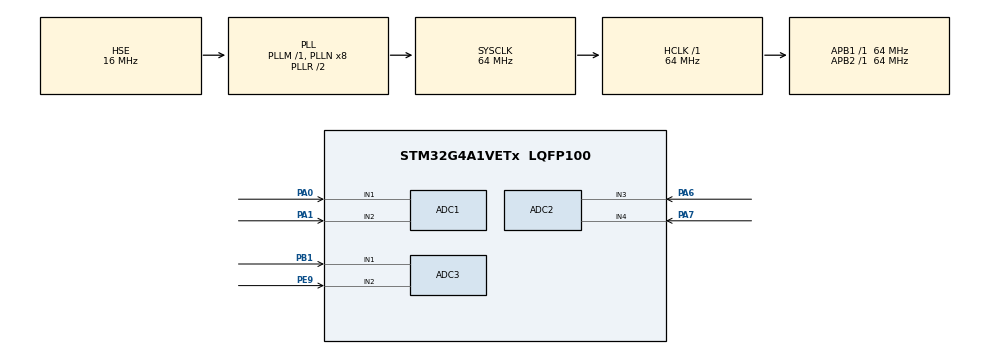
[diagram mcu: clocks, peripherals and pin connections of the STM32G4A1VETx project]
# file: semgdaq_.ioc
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ADC1.Channel-0\#ChannelRegularConversion=ADC_CHANNEL_1
ADC1.Channel-1\#ChannelRegularConversion=ADC_CHANNEL_2
ADC1.ContinuousConvMode=DISABLE
ADC1.DMAContinuousRequests=ENABLE
ADC1.ExternalTrigConv=ADC_EXTERNALTRIG_T6_TRGO
ADC1.NbrOfConversion=2
ADC1.NbrOfConversionFlag=1
ADC1.OffsetNumber-0\#ChannelRegularConversion=ADC_OFFSET_NONE
ADC1.OffsetNumber-1\#ChannelRegularConversion=ADC_OFFSET_NONE
ADC1.Rank-0\#ChannelRegularConversion=1
ADC1.Rank-1\#ChannelRegularConversion=2
ADC1.SamplingTime-0\#ChannelRegularConversion=ADC_SAMPLETIME_92CYCLES_5
ADC1.SamplingTime-1\#ChannelRegularConversion=ADC_SAMPLETIME_92CYCLES_5
ADC1.master=1
ADC2.Channel-0\#ChannelRegularConversion=ADC_CHANNEL_3
ADC2.Channel-1\#ChannelRegularConversion=ADC_CHANNEL_4
ADC2.DMAContinuousRequests=ENABLE
ADC2.ExternalTrigConv=ADC_EXTERNALTRIG_T7_TRGO
ADC2.NbrOfConversion=2
ADC2.NbrOfConversionFlag=1
ADC2.OffsetNumber-0\#ChannelRegularConversion=ADC_OFFSET_NONE
ADC2.OffsetNumber-1\#ChannelRegularConversion=ADC_OFFSET_NONE
ADC2.Rank-0\#ChannelRegularConversion=1
ADC2.Rank-1\#ChannelRegularConversion=2
ADC2.SamplingTime-0\#ChannelRegularConversion=ADC_SAMPLETIME_92CYCLES_5
ADC2.SamplingTime-1\#ChannelRegularConversion=ADC_SAMPLETIME_92CYCLES_5
ADC3.Channel-0\#ChannelRegularConversion=ADC_CHANNEL_1
ADC3.Channel-1\#ChannelRegularConversion=ADC_CHANNEL_2
ADC3.DMAContinuousRequests=ENABLE
ADC3.ExternalTrigConv=ADC_EXTERNALTRIG_T20_TRGO
ADC3.NbrOfConversion=2
ADC3.NbrOfConversionFlag=1
ADC3.OffsetNumber-0\#ChannelRegularConversion=ADC_OFFSET_NONE
ADC3.OffsetNumber-1\#ChannelRegularConversion=ADC_OFFSET_NONE
ADC3.Rank-0\#ChannelRegularConversion=1
ADC3.Rank-1\#ChannelRegularConversion=2
ADC3.SamplingTime-0\#ChannelRegularConversion=ADC_SAMPLETIME_92CYCLES_5
ADC3.SamplingTime-1\#ChannelRegularConversion=ADC_SAMPLETIME_92CYCLES_5
ADC3.master=1
Dma.ADC1.0.Direction=DMA_PERIPH_TO_MEMORY
Dma.ADC1.0.EventEnable=DISABLE
Dma.ADC1.0.Instance=DMA1_Channel1
Dma.ADC1.0.MemDataAlignment=DMA_MDATAALIGN_WORD
Dma.ADC1.0.MemInc=DMA_MINC_ENABLE
Dma.ADC1.0.Mode=DMA_CIRCULAR
Dma.ADC1.0.PeriphDataAlignment=DMA_PDATAALIGN_HALFWORD
Dma.ADC1.0.PeriphInc=DMA_PINC_DISABLE
Dma.ADC1.0.Polarity=HAL_DMAMUX_REQ_GEN_RISING
Dma.ADC1.0.Priority=DMA_PRIORITY_LOW
Dma.ADC1.0.RequestNumber=1
Dma.ADC1.0.SignalID=NONE
Dma.ADC1.0.SyncEnable=DISABLE
Dma.ADC1.0.SyncPolarity=HAL_DMAMUX_SYNC_NO_EVENT
Dma.ADC1.0.SyncRequestNumber=1
Dma.ADC1.0.SyncSignalID=NONE
Dma.ADC2.1.Direction=DMA_PERIPH_TO_MEMORY
Dma.ADC2.1.EventEnable=DISABLE
Dma.ADC2.1.Instance=DMA1_Channel2
Dma.ADC2.1.MemDataAlignment=DMA_MDATAALIGN_WORD
Dma.ADC2.1.MemInc=DMA_MINC_ENABLE
Dma.ADC2.1.Mode=DMA_CIRCULAR
Dma.ADC2.1.PeriphDataAlignment=DMA_PDATAALIGN_HALFWORD
Dma.ADC2.1.PeriphInc=DMA_PINC_DISABLE
Dma.ADC2.1.Polarity=HAL_DMAMUX_REQ_GEN_RISING
Dma.ADC2.1.Priority=DMA_PRIORITY_LOW
Dma.ADC2.1.RequestNumber=1
Dma.ADC2.1.SignalID=NONE
Dma.ADC2.1.SyncEnable=DISABLE
Dma.ADC2.1.SyncPolarity=HAL_DMAMUX_SYNC_NO_EVENT
Dma.ADC2.1.SyncRequestNumber=1
Dma.ADC2.1.SyncSignalID=NONE
Dma.ADC3.2.Direction=DMA_PERIPH_TO_MEMORY
Dma.ADC3.2.EventEnable=DISABLE
Dma.ADC3.2.Instance=DMA1_Channel3
Dma.ADC3.2.MemDataAlignment=DMA_MDATAALIGN_WORD
Dma.ADC3.2.MemInc=DMA_MINC_ENABLE
Dma.ADC3.2.Mode=DMA_CIRCULAR
Dma.ADC3.2.PeriphDataAlignment=DMA_PDATAALIGN_HALFWORD
Dma.ADC3.2.PeriphInc=DMA_PINC_DISABLE
Dma.ADC3.2.Polarity=HAL_DMAMUX_REQ_GEN_RISING
Dma.ADC3.2.Priority=DMA_PRIORITY_LOW
Dma.ADC3.2.RequestNumber=1
Dma.ADC3.2.SignalID=NONE
Dma.ADC3.2.SyncEnable=DISABLE
Dma.ADC3.2.SyncPolarity=HAL_DMAMUX_SYNC_NO_EVENT
Dma.ADC3.2.SyncRequestNumber=1
Dma.ADC3.2.SyncSignalID=NONE
Dma.Request0=ADC1
Dma.Request1=ADC2
Dma.Request2=ADC3
Mcu.Family=STM32G4
Mcu.Name=STM32G4A1VETx
Mcu.Package=LQFP100
NVIC.DMA1_Channel1_IRQn=true\:0\:0\:false\:false\:true\:false\:true\:true
NVIC.DMA1_Channel2_IRQn=true\:0\:0\:false\:false\:true\:false\:true\:true
NVIC.DMA1_Channel3_IRQn=true\:0\:0\:false\:false\:true\:false\:true\:true
NVIC.PriorityGroup=NVIC_PRIORITYGROUP_4
PA0.Mode=IN1-Single-Ended
PA0.Signal=ADC1_IN1
PA1.Mode=IN2-Single-Ended
PA1.Signal=ADC1_IN2
PA13.Mode=JTAG_4_pins
PA13.Signal=SYS_JTMS-SWDIO
PA14.Mode=JTAG_4_pins
PA14.Signal=SYS_JTCK-SWCLK
PA15.Mode=JTAG_4_pins
PA15.Signal=SYS_JTDI
PA6.Mode=IN3-Single-Ended
PA6.Signal=ADC2_IN3
PA7.Mode=IN4-Single-Ended
PA7.Signal=ADC2_IN4
PB1.Mode=IN1-Single-Ended
PB1.Signal=ADC3_IN1
PB3.Mode=JTAG_4_pins
PB3.Signal=SYS_JTDO-SWO
PE9.Mode=IN2-Single-Ended
PE9.Signal=ADC3_IN2
PF0-OSC_IN.Mode=HSE-External-Oscillator
PF0-OSC_IN.Signal=RCC_OSC_IN
PF1-OSC_OUT.Mode=HSE-External-Oscillator
PF1-OSC_OUT.Signal=RCC_OSC_OUT
ProjectManager.HeapSize=0x200
ProjectManager.StackSize=0x400
ProjectManager.TargetToolchain=STM32CubeIDE
RCC.ADC12Freq_Value=64000000
RCC.ADC345Freq_Value=64000000
RCC.AHBFreq_Value=64000000
RCC.APB1Freq_Value=64000000
RCC.APB1TimFreq_Value=64000000
RCC.APB2Freq_Value=64000000
RCC.APB2TimFreq_Value=64000000
RCC.CortexFreq_Value=64000000
RCC.EXTERNAL_CLOCK_VALUE=12288000
RCC.HCLKFreq_Value=64000000
RCC.HSE_VALUE=16000000
RCC.HSI48_VALUE=48000000
RCC.HSI_VALUE=16000000
RCC.LSE_VALUE=32768
RCC.PLLSourceVirtual=RCC_PLLSOURCE_HSE
RCC.SYSCLKFreq_VALUE=64000000
RCC.SYSCLKSource=RCC_SYSCLKSOURCE_PLLCLK
RCC.USBFreq_Value=48000000
RCC.VCOOutputFreq_Value=128000000
TIM20.PeriodNoDither=8-1
TIM20.Prescaler=8-1
TIM20.TIM_MasterOutputTrigger=TIM_TRGO_UPDATE
TIM6.PeriodNoDither=8-1
TIM6.Prescaler=8-1
TIM6.TIM_MasterOutputTrigger=TIM_TRGO_UPDATE
TIM7.PeriodNoDither=8-1
TIM7.Prescaler=8-1
TIM7.TIM_MasterOutputTrigger=TIM_TRGO_UPDATE
VP_FMAC_VS_FMAC.Mode=FMAC_Activate
VP_SYS_VS_DBSignals.Mode=DisableDeadBatterySignals
VP_TIM20_VS_ClockSourceITR.Mode=TriggerSource_ITR0
VP_TIM6_VS_ClockSourceINT.Mode=Enable_Timer
VP_TIM7_VS_ClockSourceINT.Mode=Enable_Timer
board=custom

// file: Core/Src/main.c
/* USER CODE BEGIN Header */
/**
  ******************************************************************************
  * @file           : main.c
  * @brief          : Main program body
  ******************************************************************************
  * @attention
  *
  * Copyright (c) 2024 STMicroelectronics.
  * All rights reserved.
  *
  * This software is licensed under terms that can be found in the LICENSE file
  * in the root directory of this software component.
  * If no LICENSE file comes with this software, it is provided AS-IS.
  *
  ******************************************************************************
  */
/* USER CODE END Header */
#include "main.h"

/* USER CODE BEGIN Includes */
#include <_ADCn_INx_NF.h>
/* USER CODE END Includes */

ADC_HandleTypeDef hadc1;
ADC_HandleTypeDef hadc2;
ADC_HandleTypeDef hadc3;
DMA_HandleTypeDef hdma_adc1;
DMA_HandleTypeDef hdma_adc2;
DMA_HandleTypeDef hdma_adc3;

FMAC_HandleTypeDef hfmac;

TIM_HandleTypeDef htim6;
TIM_HandleTypeDef htim7;
TIM_HandleTypeDef htim20;

/* USER CODE BEGIN PV */
ADC1_DMA_sort*ADC1_DMA_sort_ptr;
ADC2_DMA_sort*ADC2_DMA_sort_ptr;
ADC3_DMA_sort*ADC3_DMA_sort_ptr;

HAL_StatusTypeDef ADC_status;

/* USER CODE END PV */

void SystemClock_Config(void);
static void MX_GPIO_Init(void);
static void MX_DMA_Init(void);
static void MX_ADC1_Init(void);
static void MX_ADC2_Init(void);
static void MX_ADC3_Init(void);
static void MX_FMAC_Init(void);
static void MX_TIM6_Init(void);
static void MX_TIM7_Init(void);
static void MX_TIM20_Init(void);

int main(void)
{

  /* MCU Configuration--------------------------------------------------------*/

  /* Reset of all peripherals, Initializes the Flash interface and the Systick. */
  HAL_Init();

  /* USER CODE BEGIN Init */
  init_ADC1_IN1_struct();
  init_ADC1_IN1_FO_biquad_filter();

  init_ADC1_IN2_struct();
  init_ADC1_IN2_FO_biquad_filter();

  init_ADC2_IN3_struct();
  init_ADC2_IN3_FO_biquad_filter();

  init_ADC2_IN4_struct();
  init_ADC2_IN4_FO_biquad_filter();

  init_ADC3_IN1_struct();
  init_ADC3_IN1_FO_biquad_filter();

  init_ADC3_IN2_struct();
  init_ADC3_IN2_FO_biquad_filter();
  /* USER CODE END Init */

  /* Configure the system clock */
  SystemClock_Config();

  /* Initialize all configured peripherals */
  MX_GPIO_Init();
  MX_DMA_Init();
  MX_ADC1_Init();
  MX_ADC2_Init();
  MX_ADC3_Init();
  MX_FMAC_Init();
  MX_TIM6_Init();
  MX_TIM7_Init();
  MX_TIM20_Init();
  /* USER CODE BEGIN 2 */

  HAL_StatusTypeDef HAL_TIM_Base_Start(TIM_HandleTypeDef *htim6);
    ADC_status=HAL_ADC_Start_DMA(&hadc1, ADC1_DMA_sort_ptr->ADC1_DMA_bfr,ADC_DMA_BUFFERSIZE);

  HAL_StatusTypeDef HAL_TIM_Base_Start(TIM_HandleTypeDef *htim7);
    ADC_status=HAL_ADC_Start_DMA(&hadc2, ADC2_DMA_sort_ptr->ADC2_DMA_bfr,ADC_DMA_BUFFERSIZE);

  HAL_StatusTypeDef HAL_TIM_Base_Start(TIM_HandleTypeDef *htim20);
    ADC_status=HAL_ADC_Start_DMA(&hadc3, ADC3_DMA_sort_ptr->ADC3_DMA_bfr,ADC_DMA_BUFFERSIZE);

  /* USER CODE END 2 */

  /* Infinite loop */
  /* USER CODE BEGIN WHILE */
  while (1)
  {
	  update_ADC1_IN1_FO_biquad_filter();
	  update_ADC1_IN2_FO_biquad_filter();

	  update_ADC2_IN3_FO_biquad_filter();
	  update_ADC2_IN4_FO_biquad_filter();

	  update_ADC3_IN1_FO_biquad_filter();
	  update_ADC3_IN2_FO_biquad_filter();

    /* USER CODE END WHILE */

  }
}

void SystemClock_Config(void)
{
  RCC_OscInitTypeDef RCC_OscInitStruct = {0};
  RCC_ClkInitTypeDef RCC_ClkInitStruct = {0};

  /** Configure the main internal regulator output voltage
  */
  HAL_PWREx_ControlVoltageScaling(PWR_REGULATOR_VOLTAGE_SCALE1);

  /** Initializes the RCC Oscillators according to the specified parameters
  * in the RCC_OscInitTypeDef structure.
  */
  RCC_OscInitStruct.OscillatorType = RCC_OSCILLATORTYPE_HSE;
  RCC_OscInitStruct.HSEState = RCC_HSE_ON;
  RCC_OscInitStruct.PLL.PLLState = RCC_PLL_ON;
  RCC_OscInitStruct.PLL.PLLSource = RCC_PLLSOURCE_HSE;
  RCC_OscInitStruct.PLL.PLLM = RCC_PLLM_DIV1;
  RCC_OscInitStruct.PLL.PLLN = 8;
  RCC_OscInitStruct.PLL.PLLP = RCC_PLLP_DIV2;
  RCC_OscInitStruct.PLL.PLLQ = RCC_PLLQ_DIV2;
  RCC_OscInitStruct.PLL.PLLR = RCC_PLLR_DIV2;
  if (HAL_RCC_OscConfig(&RCC_OscInitStruct) != HAL_OK)
  {
    Error_Handler();
  }

  /** Initializes the CPU, AHB and APB buses clocks
  */
  RCC_ClkInitStruct.ClockType = RCC_CLOCKTYPE_HCLK|RCC_CLOCKTYPE_SYSCLK
                              |RCC_CLOCKTYPE_PCLK1|RCC_CLOCKTYPE_PCLK2;
  RCC_ClkInitStruct.SYSCLKSource = RCC_SYSCLKSOURCE_PLLCLK;
  RCC_ClkInitStruct.AHBCLKDivider = RCC_SYSCLK_DIV1;
  RCC_ClkInitStruct.APB1CLKDivider = RCC_HCLK_DIV1;
  RCC_ClkInitStruct.APB2CLKDivider = RCC_HCLK_DIV1;

  if (HAL_RCC_ClockConfig(&RCC_ClkInitStruct, FLASH_LATENCY_2) != HAL_OK)
  {
    Error_Handler();
  }
}

static void MX_ADC1_Init(void)
{

  ADC_MultiModeTypeDef multimode = {0};
  ADC_ChannelConfTypeDef sConfig = {0};

  /** Common config
  */
  hadc1.Instance = ADC1;
  hadc1.Init.ClockPrescaler = ADC_CLOCK_SYNC_PCLK_DIV2;
  hadc1.Init.Resolution = ADC_RESOLUTION_12B;
  hadc1.Init.DataAlign = ADC_DATAALIGN_RIGHT;
  hadc1.Init.GainCompensation = 0;
  hadc1.Init.ScanConvMode = ADC_SCAN_ENABLE;
  hadc1.Init.EOCSelection = ADC_EOC_SINGLE_CONV;
  hadc1.Init.LowPowerAutoWait = DISABLE;
  hadc1.Init.ContinuousConvMode = DISABLE;
  hadc1.Init.NbrOfConversion = 2;
  hadc1.Init.DiscontinuousConvMode = DISABLE;
  hadc1.Init.ExternalTrigConv = ADC_EXTERNALTRIG_T6_TRGO;
  hadc1.Init.ExternalTrigConvEdge = ADC_EXTERNALTRIGCONVEDGE_RISING;
  hadc1.Init.DMAContinuousRequests = ENABLE;
  hadc1.Init.Overrun = ADC_OVR_DATA_PRESERVED;
  hadc1.Init.OversamplingMode = DISABLE;
  if (HAL_ADC_Init(&hadc1) != HAL_OK)
  {
    Error_Handler();
  }

  /** Configure the ADC multi-mode
  */
  multimode.Mode = ADC_MODE_INDEPENDENT;
  if (HAL_ADCEx_MultiModeConfigChannel(&hadc1, &multimode) != HAL_OK)
  {
    Error_Handler();
  }

  /** Configure Regular Channel
  */
  sConfig.Channel = ADC_CHANNEL_1;
  sConfig.Rank = ADC_REGULAR_RANK_1;
  sConfig.SamplingTime = ADC_SAMPLETIME_92CYCLES_5;
  sConfig.SingleDiff = ADC_SINGLE_ENDED;
  sConfig.OffsetNumber = ADC_OFFSET_NONE;
  sConfig.Offset = 0;
  if (HAL_ADC_ConfigChannel(&hadc1, &sConfig) != HAL_OK)
  {
    Error_Handler();
  }

  /** Configure Regular Channel
  */
  sConfig.Channel = ADC_CHANNEL_2;
  sConfig.Rank = ADC_REGULAR_RANK_2;
  if (HAL_ADC_ConfigChannel(&hadc1, &sConfig) != HAL_OK)
  {
    Error_Handler();
  }

}

static void MX_ADC2_Init(void)
{

  ADC_ChannelConfTypeDef sConfig = {0};

  /** Common config
  */
  hadc2.Instance = ADC2;
  hadc2.Init.ClockPrescaler = ADC_CLOCK_SYNC_PCLK_DIV2;
  hadc2.Init.Resolution = ADC_RESOLUTION_12B;
  hadc2.Init.DataAlign = ADC_DATAALIGN_RIGHT;
  hadc2.Init.GainCompensation = 0;
  hadc2.Init.ScanConvMode = ADC_SCAN_ENABLE;
  hadc2.Init.EOCSelection = ADC_EOC_SINGLE_CONV;
  hadc2.Init.LowPowerAutoWait = DISABLE;
  hadc2.Init.ContinuousConvMode = DISABLE;
  hadc2.Init.NbrOfConversion = 2;
  hadc2.Init.DiscontinuousConvMode = DISABLE;
  hadc2.Init.ExternalTrigConv = ADC_EXTERNALTRIG_T7_TRGO;
  hadc2.Init.ExternalTrigConvEdge = ADC_EXTERNALTRIGCONVEDGE_RISING;
  hadc2.Init.DMAContinuousRequests = ENABLE;
  hadc2.Init.Overrun = ADC_OVR_DATA_PRESERVED;
  hadc2.Init.OversamplingMode = DISABLE;
  if (HAL_ADC_Init(&hadc2) != HAL_OK)
  {
    Error_Handler();
  }

  /** Configure Regular Channel
  */
  sConfig.Channel = ADC_CHANNEL_3;
  sConfig.Rank = ADC_REGULAR_RANK_1;
  sConfig.SamplingTime = ADC_SAMPLETIME_92CYCLES_5;
  sConfig.SingleDiff = ADC_SINGLE_ENDED;
  sConfig.OffsetNumber = ADC_OFFSET_NONE;
  sConfig.Offset = 0;
  if (HAL_ADC_ConfigChannel(&hadc2, &sConfig) != HAL_OK)
  {
    Error_Handler();
  }

  /** Configure Regular Channel
  */
  sConfig.Channel = ADC_CHANNEL_4;
  sConfig.Rank = ADC_REGULAR_RANK_2;
  if (HAL_ADC_ConfigChannel(&hadc2, &sConfig) != HAL_OK)
  {
    Error_Handler();
  }

}

static void MX_ADC3_Init(void)
{

  ADC_ChannelConfTypeDef sConfig = {0};

  /** Common config
  */
  hadc3.Instance = ADC3;
  hadc3.Init.ClockPrescaler = ADC_CLOCK_SYNC_PCLK_DIV2;
  hadc3.Init.Resolution = ADC_RESOLUTION_12B;
  hadc3.Init.DataAlign = ADC_DATAALIGN_RIGHT;
  hadc3.Init.GainCompensation = 0;
  hadc3.Init.ScanConvMode = ADC_SCAN_ENABLE;
  hadc3.Init.EOCSelection = ADC_EOC_SINGLE_CONV;
  hadc3.Init.LowPowerAutoWait = DISABLE;
  hadc3.Init.ContinuousConvMode = DISABLE;
  hadc3.Init.NbrOfConversion = 2;
  hadc3.Init.DiscontinuousConvMode = DISABLE;
  hadc3.Init.ExternalTrigConv = ADC_EXTERNALTRIG_T20_TRGO;
  hadc3.Init.ExternalTrigConvEdge = ADC_EXTERNALTRIGCONVEDGE_RISING;
  hadc3.Init.DMAContinuousRequests = ENABLE;
  hadc3.Init.Overrun = ADC_OVR_DATA_PRESERVED;
  hadc3.Init.OversamplingMode = DISABLE;
  if (HAL_ADC_Init(&hadc3) != HAL_OK)
  {
    Error_Handler();
  }

  /** Configure Regular Channel
  */
  sConfig.Channel = ADC_CHANNEL_1;
  sConfig.Rank = ADC_REGULAR_RANK_1;
  sConfig.SamplingTime = ADC_SAMPLETIME_92CYCLES_5;
  sConfig.SingleDiff = ADC_SINGLE_ENDED;
  sConfig.OffsetNumber = ADC_OFFSET_NONE;
  sConfig.Offset = 0;
  if (HAL_ADC_ConfigChannel(&hadc3, &sConfig) != HAL_OK)
  {
    Error_Handler();
  }

  /** Configure Regular Channel
  */
  sConfig.Channel = ADC_CHANNEL_2;
  sConfig.Rank = ADC_REGULAR_RANK_2;
  if (HAL_ADC_ConfigChannel(&hadc3, &sConfig) != HAL_OK)
  {
    Error_Handler();
  }

}

static void MX_FMAC_Init(void)
{

  hfmac.Instance = FMAC;
  if (HAL_FMAC_Init(&hfmac) != HAL_OK)
  {
    Error_Handler();
  }

}

static void MX_TIM6_Init(void)
{

  TIM_MasterConfigTypeDef sMasterConfig = {0};

  htim6.Instance = TIM6;
  htim6.Init.Prescaler = 8-1;
  htim6.Init.CounterMode = TIM_COUNTERMODE_UP;
  htim6.Init.Period = 7;
  htim6.Init.AutoReloadPreload = TIM_AUTORELOAD_PRELOAD_DISABLE;
  if (HAL_TIM_Base_Init(&htim6) != HAL_OK)
  {
    Error_Handler();
  }
  sMasterConfig.MasterOutputTrigger = TIM_TRGO_UPDATE;
  sMasterConfig.MasterSlaveMode = TIM_MASTERSLAVEMODE_DISABLE;
  if (HAL_TIMEx_MasterConfigSynchronization(&htim6, &sMasterConfig) != HAL_OK)
  {
    Error_Handler();
  }

}

static void MX_TIM7_Init(void)
{

  TIM_MasterConfigTypeDef sMasterConfig = {0};

  htim7.Instance = TIM7;
  htim7.Init.Prescaler = 8-1;
  htim7.Init.CounterMode = TIM_COUNTERMODE_UP;
  htim7.Init.Period = 7;
  htim7.Init.AutoReloadPreload = TIM_AUTORELOAD_PRELOAD_DISABLE;
  if (HAL_TIM_Base_Init(&htim7) != HAL_OK)
  {
    Error_Handler();
  }
  sMasterConfig.MasterOutputTrigger = TIM_TRGO_UPDATE;
  sMasterConfig.MasterSlaveMode = TIM_MASTERSLAVEMODE_DISABLE;
  if (HAL_TIMEx_MasterConfigSynchronization(&htim7, &sMasterConfig) != HAL_OK)
  {
    Error_Handler();
  }

}

static void MX_TIM20_Init(void)
{

  TIM_SlaveConfigTypeDef sSlaveConfig = {0};
  TIM_MasterConfigTypeDef sMasterConfig = {0};

  htim20.Instance = TIM20;
  htim20.Init.Prescaler = 8-1;
  htim20.Init.CounterMode = TIM_COUNTERMODE_UP;
  htim20.Init.Period = 7;
  htim20.Init.ClockDivision = TIM_CLOCKDIVISION_DIV1;
  htim20.Init.RepetitionCounter = 0;
  htim20.Init.AutoReloadPreload = TIM_AUTORELOAD_PRELOAD_DISABLE;
  if (HAL_TIM_Base_Init(&htim20) != HAL_OK)
  {
    Error_Handler();
  }
  sSlaveConfig.SlaveMode = TIM_SLAVEMODE_DISABLE;
  sSlaveConfig.InputTrigger = TIM_TS_ITR0;
  if (HAL_TIM_SlaveConfigSynchro(&htim20, &sSlaveConfig) != HAL_OK)
  {
    Error_Handler();
  }
  sMasterConfig.MasterOutputTrigger = TIM_TRGO_UPDATE;
  sMasterConfig.MasterOutputTrigger2 = TIM_TRGO2_RESET;
  sMasterConfig.MasterSlaveMode = TIM_MASTERSLAVEMODE_DISABLE;
  if (HAL_TIMEx_MasterConfigSynchronization(&htim20, &sMasterConfig) != HAL_OK)
  {
    Error_Handler();
  }

}

static void MX_DMA_Init(void)
{

  /* DMA controller clock enable */
  __HAL_RCC_DMAMUX1_CLK_ENABLE();
  __HAL_RCC_DMA1_CLK_ENABLE();

  /* DMA interrupt init */
  /* DMA1_Channel1_IRQn interrupt configuration */
  HAL_NVIC_SetPriority(DMA1_Channel1_IRQn, 0, 0);
  HAL_NVIC_EnableIRQ(DMA1_Channel1_IRQn);
  /* DMA1_Channel2_IRQn interrupt configuration */
  HAL_NVIC_SetPriority(DMA1_Channel2_IRQn, 0, 0);
  HAL_NVIC_EnableIRQ(DMA1_Channel2_IRQn);
  /* DMA1_Channel3_IRQn interrupt configuration */
  HAL_NVIC_SetPriority(DMA1_Channel3_IRQn, 0, 0);
  HAL_NVIC_EnableIRQ(DMA1_Channel3_IRQn);

}

static void MX_GPIO_Init(void)
{

  /* GPIO Ports Clock Enable */
  __HAL_RCC_GPIOF_CLK_ENABLE();
  __HAL_RCC_GPIOA_CLK_ENABLE();
  __HAL_RCC_GPIOB_CLK_ENABLE();
  __HAL_RCC_GPIOE_CLK_ENABLE();

}

/* USER CODE BEGIN 4 */
void                    HAL_ADC_ConvHalfCpltCallback(ADC_HandleTypeDef *hadc)
{
	 if (hadc->Instance == ADC1)
	   {
	        ADC1_DMA_sort_uhb(); // Handles the upper half of the DMA buffer

	        ADC1_DMA_sort_ptr->ADC1_DMA_mon=ADC1_DMA_sort_ptr->ADC1_DMA_bfr[ADC_DMA_QUATERBUFFERSIZE];
	        ADC1_DMA_sort_ptr->ADC1_IN1_mon=ADC1_DMA_sort_ptr->ADC1_IN1_bfr[ADC_DMA_EIGHTHBUFFERSIZE];
	        ADC1_DMA_sort_ptr->ADC1_IN2_mon=ADC1_DMA_sort_ptr->ADC1_IN2_bfr[ADC_DMA_EIGHTHBUFFERSIZE];
	   }

	 if (hadc->Instance == ADC2)

	   {
		    ADC2_DMA_sort_uhb(); // Handles the upper half of the DMA buffer

		    ADC2_DMA_sort_ptr->ADC2_DMA_mon=ADC2_DMA_sort_ptr->ADC2_DMA_bfr[ADC_DMA_QUATERBUFFERSIZE];
		    ADC2_DMA_sort_ptr->ADC2_IN3_mon=ADC2_DMA_sort_ptr->ADC2_IN3_bfr[ADC_DMA_EIGHTHBUFFERSIZE];
		    ADC2_DMA_sort_ptr->ADC2_IN4_mon=ADC2_DMA_sort_ptr->ADC2_IN4_bfr[ADC_DMA_EIGHTHBUFFERSIZE];
	   }

	 if (hadc->Instance == ADC3)

	   {
		    ADC3_DMA_sort_uhb(); // Handles the upper half of the DMA buffer

		    ADC3_DMA_sort_ptr->ADC3_DMA_mon=ADC3_DMA_sort_ptr->ADC3_DMA_bfr[ADC_DMA_QUATERBUFFERSIZE];
		    ADC3_DMA_sort_ptr->ADC3_IN1_mon=ADC3_DMA_sort_ptr->ADC3_IN1_bfr[ADC_DMA_EIGHTHBUFFERSIZE];
		    ADC3_DMA_sort_ptr->ADC3_IN2_mon=ADC3_DMA_sort_ptr->ADC3_IN2_bfr[ADC_DMA_EIGHTHBUFFERSIZE];
	   }
};

void                    HAL_ADC_ConvCpltCallback(ADC_HandleTypeDef *hadc)
{
	  if (hadc->Instance == ADC1)
		{
			ADC1_DMA_sort_lhb(); // Handles the lower half of the DMA buffer

			ADC1_DMA_sort_ptr->ADC1_DMA_mon=ADC1_DMA_sort_ptr->ADC1_DMA_bfr[ADC_DMA_HALFBUFFERSIZE + ADC_DMA_QUATERBUFFERSIZE];
			ADC1_DMA_sort_ptr->ADC1_IN1_mon=ADC1_DMA_sort_ptr->ADC1_IN1_bfr[ADC_DMA_QUATERBUFFERSIZE + ADC_DMA_EIGHTHBUFFERSIZE];
			ADC1_DMA_sort_ptr->ADC1_IN2_mon=ADC1_DMA_sort_ptr->ADC1_IN2_bfr[ADC_DMA_QUATERBUFFERSIZE + ADC_DMA_EIGHTHBUFFERSIZE];
		}

	  if (hadc->Instance == ADC2)

		{
		     ADC2_DMA_sort_lhb(); // Handles the lower half of the DMA buffer

		     ADC2_DMA_sort_ptr->ADC2_DMA_mon=ADC2_DMA_sort_ptr->ADC2_DMA_bfr[ADC_DMA_HALFBUFFERSIZE + ADC_DMA_QUATERBUFFERSIZE];
		     ADC2_DMA_sort_ptr->ADC2_IN3_mon=ADC2_DMA_sort_ptr->ADC2_IN3_bfr[ADC_DMA_QUATERBUFFERSIZE + ADC_DMA_EIGHTHBUFFERSIZE];
			 ADC2_DMA_sort_ptr->ADC2_IN4_mon=ADC2_DMA_sort_ptr->ADC2_IN4_bfr[ADC_DMA_QUATERBUFFERSIZE + ADC_DMA_EIGHTHBUFFERSIZE];
		}

	   if (hadc->Instance == ADC3)

		{
		     ADC3_DMA_sort_lhb(); // Handles the lower half of the DMA buffer

			 ADC3_DMA_sort_ptr->ADC3_DMA_mon=ADC3_DMA_sort_ptr->ADC3_DMA_bfr[ADC_DMA_HALFBUFFERSIZE + ADC_DMA_QUATERBUFFERSIZE];
			 ADC3_DMA_sort_ptr->ADC3_IN1_mon=ADC3_DMA_sort_ptr->ADC3_IN1_bfr[ADC_DMA_QUATERBUFFERSIZE + ADC_DMA_EIGHTHBUFFERSIZE];
			 ADC3_DMA_sort_ptr->ADC3_IN2_mon=ADC3_DMA_sort_ptr->ADC3_IN2_bfr[ADC_DMA_QUATERBUFFERSIZE + ADC_DMA_EIGHTHBUFFERSIZE];
		}

};

/* USER CODE END 4 */

void Error_Handler(void)
{
  __disable_irq();
  while (1)
  {
  }
}
